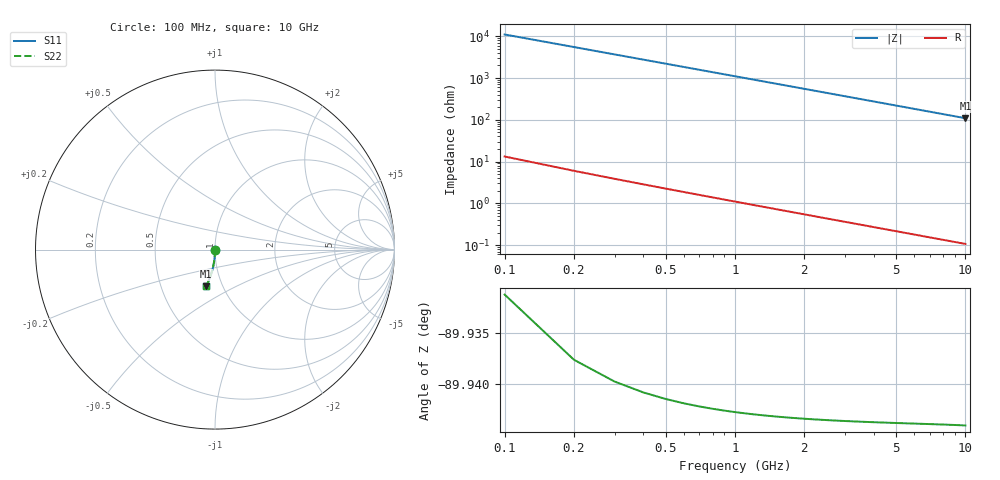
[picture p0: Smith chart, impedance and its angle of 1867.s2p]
# Hz S RI R 50.00
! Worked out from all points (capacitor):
!   100 points, 100 MHz to 10 GHz, reference 50 ohm
!   read as one part in shunt: C = 144 fF near 100 MHz
!   lowest |Z| = 109 ohm at 10 GHz (marker M1)
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1e8  2.23e-05 -0.00213  1 -0.0024  1 -0.0024  2.23e-05 -0.00213
2e8  4.89e-06 -0.00427  0.9999 -0.00479  0.9999 -0.00479  4.89e-06 -0.00427
3e8  -2.28e-05 -0.0064  0.9999 -0.00719  0.9999 -0.00719  -2.28e-05 -0.0064
4e8  -6.07e-05 -0.00854  0.9999 -0.00959  0.9999 -0.00959  -6.07e-05 -0.00854
5e8  -0.000109 -0.0107  0.9998 -0.012  0.9998 -0.012  -0.000109 -0.0107
6e8  -0.000167 -0.0128  0.9998 -0.0144  0.9998 -0.0144  -0.000167 -0.0128
7e8  -0.000236 -0.0149  0.9997 -0.0168  0.9997 -0.0168  -0.000236 -0.0149
8e8  -0.000315 -0.0171  0.9996 -0.0192  0.9996 -0.0192  -0.000315 -0.0171
9e8  -0.000404 -0.0192  0.9995 -0.0216  0.9995 -0.0216  -0.000404 -0.0192
1.1e9  -0.000614 -0.0235  0.9993 -0.0264  0.9993 -0.0264  -0.000614 -0.0235
1.4e9  -0.001 -0.0299  0.9989 -0.0336  0.9989 -0.0336  -0.001 -0.0299
1.8e9  -0.00167 -0.0384  0.9983 -0.0431  0.9983 -0.0431  -0.00167 -0.0384
2.1e9  -0.00228 -0.0448  0.9976 -0.0503  0.9976 -0.0503  -0.00228 -0.0448
2.5e9  -0.00323 -0.0533  0.9967 -0.0599  0.9967 -0.0599  -0.00323 -0.0533
2.9e9  -0.00434 -0.0618  0.9956 -0.0694  0.9956 -0.0694  -0.00434 -0.0618
3.4e9  -0.00597 -0.0724  0.9939 -0.0814  0.9939 -0.0814  -0.00597 -0.0724
4.2e9  -0.0091 -0.0892  0.9908 -0.1003  0.9908 -0.1003  -0.0091 -0.0892
5.1e9  -0.0134 -0.108  0.9865 -0.1215  0.9865 -0.1215  -0.0134 -0.108
5.9e9  -0.0179 -0.1245  0.9819 -0.1401  0.9819 -0.1401  -0.0179 -0.1245
6.7e9  -0.023 -0.1407  0.9768 -0.1586  0.9768 -0.1586  -0.023 -0.1407
8.4e9  -0.0358 -0.1744  0.9639 -0.1968  0.9639 -0.1968  -0.0358 -0.1744
1e10  -0.0501 -0.2047  0.9495 -0.2315  0.9495 -0.2315  -0.0501 -0.2047
